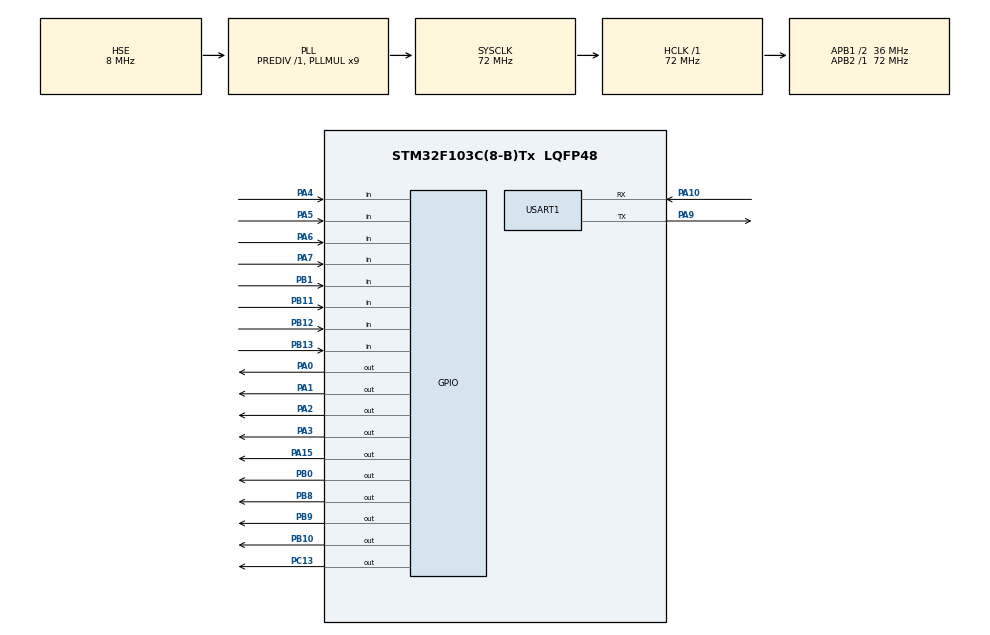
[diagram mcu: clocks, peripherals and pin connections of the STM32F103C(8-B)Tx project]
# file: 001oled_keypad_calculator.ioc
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FREERTOS.Tasks01=defaultTask,24,128,StartDefaultTask,Default,NULL,Dynamic,NULL,NULL
FREERTOS.configTOTAL_HEAP_SIZE=5120
Mcu.Family=STM32F1
Mcu.Name=STM32F103C(8-B)Tx
Mcu.Package=LQFP48
NVIC.PriorityGroup=NVIC_PRIORITYGROUP_4
NVIC.USART1_IRQn=true\:5\:0\:false\:false\:true\:true\:true\:true\:true
PA0-WKUP.PinState=GPIO_PIN_SET
PA0-WKUP.Signal=GPIO_Output
PA1.PinState=GPIO_PIN_SET
PA1.Signal=GPIO_Output
PA10.Mode=Asynchronous
PA10.Signal=USART1_RX
PA13.Mode=Serial_Wire
PA13.Signal=SYS_JTMS-SWDIO
PA14.Mode=Serial_Wire
PA14.Signal=SYS_JTCK-SWCLK
PA15.PinState=GPIO_PIN_RESET
PA15.Signal=GPIO_Output
PA2.PinState=GPIO_PIN_SET
PA2.Signal=GPIO_Output
PA3.PinState=GPIO_PIN_SET
PA3.Signal=GPIO_Output
PA4.GPIO_PuPd=GPIO_PULLUP
PA4.Signal=GPIO_Input
PA5.GPIO_PuPd=GPIO_PULLUP
PA5.Signal=GPIO_Input
PA6.GPIO_PuPd=GPIO_PULLUP
PA6.Signal=GPIO_Input
PA7.GPIO_PuPd=GPIO_PULLUP
PA7.Signal=GPIO_Input
PA9.Mode=Asynchronous
PA9.Signal=USART1_TX
PB0.PinState=GPIO_PIN_SET
PB0.Signal=GPIO_Output
PB1.GPIO_PuPd=GPIO_PULLUP
PB1.Signal=GPIO_Input
PB10.PinState=GPIO_PIN_SET
PB10.Signal=GPIO_Output
PB11.GPIO_PuPd=GPIO_PULLUP
PB11.Signal=GPIO_Input
PB12.GPIO_PuPd=GPIO_PULLDOWN
PB12.Signal=GPIO_Input
PB13.GPIO_PuPd=GPIO_PULLDOWN
PB13.Signal=GPIO_Input
PB8.GPIO_ModeDefaultOutputPP=GPIO_MODE_OUTPUT_OD
PB8.GPIO_PuPd=GPIO_NOPULL
PB8.PinState=GPIO_PIN_RESET
PB8.Signal=GPIO_Output
PB9.GPIO_ModeDefaultOutputPP=GPIO_MODE_OUTPUT_OD
PB9.GPIO_PuPd=GPIO_NOPULL
PB9.Signal=GPIO_Output
PC13-TAMPER-RTC.Signal=GPIO_Output
PD0-OSC_IN.Mode=HSE-External-Oscillator
PD0-OSC_IN.Signal=RCC_OSC_IN
PD1-OSC_OUT.Mode=HSE-External-Oscillator
PD1-OSC_OUT.Signal=RCC_OSC_OUT
ProjectManager.HeapSize=0x200
ProjectManager.StackSize=0x400
ProjectManager.TargetToolchain=MDK-ARM V5.32
RCC.AHBFreq_Value=72000000
RCC.APB1CLKDivider=RCC_HCLK_DIV2
RCC.APB1Freq_Value=36000000
RCC.APB1TimFreq_Value=72000000
RCC.APB2Freq_Value=72000000
RCC.APB2TimFreq_Value=72000000
RCC.HCLKFreq_Value=72000000
RCC.PLLMUL=RCC_PLL_MUL9
RCC.PLLSourceVirtual=RCC_PLLSOURCE_HSE
RCC.SYSCLKFreq_VALUE=72000000
RCC.SYSCLKSource=RCC_SYSCLKSOURCE_PLLCLK
RCC.USBFreq_Value=72000000
USART1.VirtualMode=VM_ASYNC
VP_FREERTOS_VS_CMSIS_V2.Mode=CMSIS_V2
board=custom

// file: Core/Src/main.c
/* USER CODE BEGIN Header */
/**
  ******************************************************************************
  * @file           : main.c
  * @brief          : Main program body
  ******************************************************************************
  * @attention
  *
  * Copyright (c) 2026 STMicroelectronics.
  * All rights reserved.
  *
  * This software is licensed under terms that can be found in the LICENSE file
  * in the root directory of this software component.
  * If no LICENSE file comes with this software, it is provided AS-IS.
  *
  ******************************************************************************
  */
/* USER CODE END Header */
#include "main.h"
#include "cmsis_os.h"

/* USER CODE BEGIN Includes */
#include "FreeRTOS.h"
#include "task.h"
#include "queue.h"
#include "oled_device.h"
#include "test.h"
#include "menu.h"
#include "led_app.h"
#include "snake_app.h"
#include "botton.h"

#include "app_task.h"
/* USER CODE END Includes */

UART_HandleTypeDef huart1;

/* Definitions for defaultTask */
osThreadId_t defaultTaskHandle;
const osThreadAttr_t defaultTask_attributes = {
  .name = "defaultTask",
  .stack_size = 128 * 4,
  .priority = (osPriority_t) osPriorityNormal,
};
/* USER CODE BEGIN PV */
QueueHandle_t s_xBtnQueue;  				// 全局队列句柄
TaskHandle_t s_hSerialTaskHandle;			// 串口任务句柄
/* USER CODE END PV */

void SystemClock_Config(void);
static void MX_GPIO_Init(void);
static void MX_USART1_UART_Init(void);
void StartDefaultTask(void *argument);

int main(void)
{

  /* MCU Configuration--------------------------------------------------------*/

  /* Reset of all peripherals, Initializes the Flash interface and the Systick. */
  HAL_Init();

  /* Configure the system clock */
  SystemClock_Config();

  /* Initialize all configured peripherals */
  MX_GPIO_Init();
  MX_USART1_UART_Init();
  /* USER CODE BEGIN 2 */

    /* 底层设备初始化 */
    Led_Init();
    vOledInit();
    Button_Init();
    RingBuf_Init();

    /* 中间件初始化 */
    vInterpreterInit();                 				// 命令解释器清空命令表（仅一次）

	/* 应用层初始化 */
    vLedAppInit();                      				// LED应用层自身初始化（按钮注册到UI等）
    vLedAppRegisterCommands();          				// 将LED命令注册到解释器
    // vCalcAppInit();                  				// 计算器应用层初始化（如果有）
    // vCalcAppRegisterCommands();      				// 计算器命令注册

    /* UI / 菜单初始化 */
	vMenuInit();
  /* USER CODE END 2 */

  /* Init scheduler */
  osKernelInitialize();

  /* USER CODE BEGIN RTOS_QUEUES */
  s_xBtnQueue = xQueueCreate(10, sizeof(stBtnEventMsg));
  	if(s_xBtnQueue == NULL)
	{
		// ucHeap堆内存不够，创建失败，停机调试
		Error_Handler();
	}
  /* add queues, ... */
  /* USER CODE END RTOS_QUEUES */

  /* Create the thread(s) */
  /* creation of defaultTask */
  defaultTaskHandle = osThreadNew(StartDefaultTask, NULL, &defaultTask_attributes);

  /* USER CODE BEGIN RTOS_THREADS */
//  xTaskCreate(vBtnScanTask, "BtnScan", 128, NULL, 3, NULL);
//  xTaskCreate(vDisplayTask, "Display", 512, NULL, 1, NULL);
//  // 创建应用主任务
//  xTaskCreate(vAppTask,            // 任务函数
//                "AppTask",         // 任务名称（调试用）
//                256,               // 栈大小（words，根据实际需求调整）
//                NULL,              // 参数
//                4,                 // 优先级
//                NULL); 			   // 任务句柄（可选，若不需要可传 NULL）

	xTaskCreate(vSerialTask, "Serial", 128, NULL, 2, &s_hSerialTaskHandle);
	BaseType_t ret;
	ret = xTaskCreate(vBtnScanTask, "BtnScan", 128, NULL, 3, NULL);
	if(ret != pdPASS)
		Error_Handler();

	ret = xTaskCreate(vDisplayTask, "Display", 200, NULL, 1, NULL);
	if(ret != pdPASS)
		Error_Handler();

	ret = xTaskCreate(vAppTask, "AppTask", 256, NULL, 4, NULL);
	if(ret != pdPASS)
	{
		// 卡死在这里，证明堆不够
		Error_Handler();
	}
  /* add threads, ... */
  /* USER CODE END RTOS_THREADS */

  /* Start scheduler */
  osKernelStart();

  /* We should never get here as control is now taken by the scheduler */

  /* Infinite loop */
  while (1)
  {

    /* USER CODE BEGIN 3 */
//	  vTask();
  }
  /* USER CODE END 3 */
}

void SystemClock_Config(void)
{
  RCC_OscInitTypeDef RCC_OscInitStruct = {0};
  RCC_ClkInitTypeDef RCC_ClkInitStruct = {0};

  /** Initializes the RCC Oscillators according to the specified parameters
  * in the RCC_OscInitTypeDef structure.
  */
  RCC_OscInitStruct.OscillatorType = RCC_OSCILLATORTYPE_HSE;
  RCC_OscInitStruct.HSEState = RCC_HSE_ON;
  RCC_OscInitStruct.HSEPredivValue = RCC_HSE_PREDIV_DIV1;
  RCC_OscInitStruct.HSIState = RCC_HSI_ON;
  RCC_OscInitStruct.PLL.PLLState = RCC_PLL_ON;
  RCC_OscInitStruct.PLL.PLLSource = RCC_PLLSOURCE_HSE;
  RCC_OscInitStruct.PLL.PLLMUL = RCC_PLL_MUL9;
  if (HAL_RCC_OscConfig(&RCC_OscInitStruct) != HAL_OK)
  {
    Error_Handler();
  }

  /** Initializes the CPU, AHB and APB buses clocks
  */
  RCC_ClkInitStruct.ClockType = RCC_CLOCKTYPE_HCLK|RCC_CLOCKTYPE_SYSCLK
                              |RCC_CLOCKTYPE_PCLK1|RCC_CLOCKTYPE_PCLK2;
  RCC_ClkInitStruct.SYSCLKSource = RCC_SYSCLKSOURCE_PLLCLK;
  RCC_ClkInitStruct.AHBCLKDivider = RCC_SYSCLK_DIV1;
  RCC_ClkInitStruct.APB1CLKDivider = RCC_HCLK_DIV2;
  RCC_ClkInitStruct.APB2CLKDivider = RCC_HCLK_DIV1;

  if (HAL_RCC_ClockConfig(&RCC_ClkInitStruct, FLASH_LATENCY_2) != HAL_OK)
  {
    Error_Handler();
  }
}

static void MX_USART1_UART_Init(void)
{

  huart1.Instance = USART1;
  huart1.Init.BaudRate = 115200;
  huart1.Init.WordLength = UART_WORDLENGTH_8B;
  huart1.Init.StopBits = UART_STOPBITS_1;
  huart1.Init.Parity = UART_PARITY_NONE;
  huart1.Init.Mode = UART_MODE_TX_RX;
  huart1.Init.HwFlowCtl = UART_HWCONTROL_NONE;
  huart1.Init.OverSampling = UART_OVERSAMPLING_16;
  if (HAL_UART_Init(&huart1) != HAL_OK)
  {
    Error_Handler();
  }
  /* USER CODE BEGIN USART1_Init 2 */
  //开启串口外设+开启接收中断
  __HAL_UART_ENABLE_IT(&huart1,UART_IT_RXNE);
  __HAL_UART_ENABLE(&huart1);
  /* USER CODE END USART1_Init 2 */

}

static void MX_GPIO_Init(void)
{
  GPIO_InitTypeDef GPIO_InitStruct = {0};

  /* GPIO Ports Clock Enable */
  __HAL_RCC_GPIOC_CLK_ENABLE();
  __HAL_RCC_GPIOD_CLK_ENABLE();
  __HAL_RCC_GPIOA_CLK_ENABLE();
  __HAL_RCC_GPIOB_CLK_ENABLE();

  /*Configure GPIO pin Output Level */
  HAL_GPIO_WritePin(GPIOC, GPIO_PIN_13, GPIO_PIN_RESET);

  /*Configure GPIO pin Output Level */
  HAL_GPIO_WritePin(GPIOA, GPIO_PIN_0|GPIO_PIN_1|GPIO_PIN_2|GPIO_PIN_3, GPIO_PIN_SET);

  /*Configure GPIO pin Output Level */
  HAL_GPIO_WritePin(GPIOB, GPIO_PIN_0|GPIO_PIN_10, GPIO_PIN_SET);

  /*Configure GPIO pin Output Level */
  HAL_GPIO_WritePin(GPIOA, GPIO_PIN_15, GPIO_PIN_RESET);

  /*Configure GPIO pin Output Level */
  HAL_GPIO_WritePin(GPIOB, GPIO_PIN_8|GPIO_PIN_9, GPIO_PIN_RESET);

  /*Configure GPIO pin : PC13 */
  GPIO_InitStruct.Pin = GPIO_PIN_13;
  GPIO_InitStruct.Mode = GPIO_MODE_OUTPUT_PP;
  GPIO_InitStruct.Pull = GPIO_NOPULL;
  GPIO_InitStruct.Speed = GPIO_SPEED_FREQ_LOW;
  HAL_GPIO_Init(GPIOC, &GPIO_InitStruct);

  /*Configure GPIO pins : PA0 PA1 PA2 PA3
                           PA15 */
  GPIO_InitStruct.Pin = GPIO_PIN_0|GPIO_PIN_1|GPIO_PIN_2|GPIO_PIN_3
                          |GPIO_PIN_15;
  GPIO_InitStruct.Mode = GPIO_MODE_OUTPUT_PP;
  GPIO_InitStruct.Pull = GPIO_NOPULL;
  GPIO_InitStruct.Speed = GPIO_SPEED_FREQ_LOW;
  HAL_GPIO_Init(GPIOA, &GPIO_InitStruct);

  /*Configure GPIO pins : PA4 PA5 PA6 PA7 */
  GPIO_InitStruct.Pin = GPIO_PIN_4|GPIO_PIN_5|GPIO_PIN_6|GPIO_PIN_7;
  GPIO_InitStruct.Mode = GPIO_MODE_INPUT;
  GPIO_InitStruct.Pull = GPIO_PULLUP;
  HAL_GPIO_Init(GPIOA, &GPIO_InitStruct);

  /*Configure GPIO pins : PB0 PB10 */
  GPIO_InitStruct.Pin = GPIO_PIN_0|GPIO_PIN_10;
  GPIO_InitStruct.Mode = GPIO_MODE_OUTPUT_PP;
  GPIO_InitStruct.Pull = GPIO_NOPULL;
  GPIO_InitStruct.Speed = GPIO_SPEED_FREQ_LOW;
  HAL_GPIO_Init(GPIOB, &GPIO_InitStruct);

  /*Configure GPIO pins : PB1 PB11 */
  GPIO_InitStruct.Pin = GPIO_PIN_1|GPIO_PIN_11;
  GPIO_InitStruct.Mode = GPIO_MODE_INPUT;
  GPIO_InitStruct.Pull = GPIO_PULLUP;
  HAL_GPIO_Init(GPIOB, &GPIO_InitStruct);

  /*Configure GPIO pins : PB12 PB13 */
  GPIO_InitStruct.Pin = GPIO_PIN_12|GPIO_PIN_13;
  GPIO_InitStruct.Mode = GPIO_MODE_INPUT;
  GPIO_InitStruct.Pull = GPIO_PULLDOWN;
  HAL_GPIO_Init(GPIOB, &GPIO_InitStruct);

  /*Configure GPIO pins : PB8 PB9 */
  GPIO_InitStruct.Pin = GPIO_PIN_8|GPIO_PIN_9;
  GPIO_InitStruct.Mode = GPIO_MODE_OUTPUT_OD;
  GPIO_InitStruct.Pull = GPIO_NOPULL;
  GPIO_InitStruct.Speed = GPIO_SPEED_FREQ_LOW;
  HAL_GPIO_Init(GPIOB, &GPIO_InitStruct);

}

void StartDefaultTask(void *argument)
{
  for(;;)
  {
    osDelay(1);
  }
}

void Error_Handler(void)
{
  __disable_irq();
  while (1)
  {
  }
}
